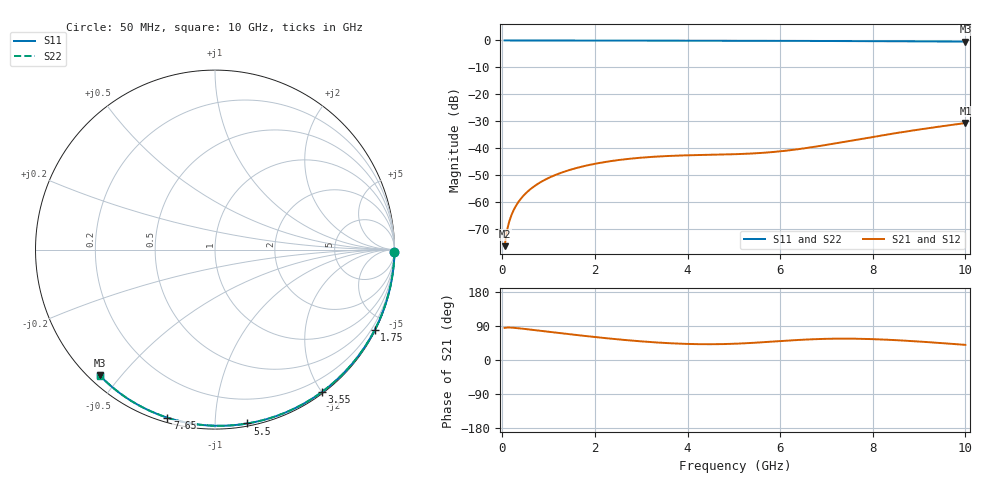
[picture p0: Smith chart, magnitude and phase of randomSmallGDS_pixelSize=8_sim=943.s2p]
! freq	dB(S11)	phase(S11)	dB(S12)	phase(S12)
!  dB(S21)	phase(S21)	dB(S22)	phase(S22)
!S-par simulation data
#  GHz  S  DB  R 50
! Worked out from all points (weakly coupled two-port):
!   200 points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, 50 MHz to 10 GHz, reference 50 ohm
!   highest |S21| = -30.70 dB at 10 GHz (marker M1); lowest = -76.5 dB at 50 MHz (marker M2)
!   lowest |S11| = -0.4 dB at 10 GHz (marker M3), VSWR 39.55, Z = 1.51 - j22 ohm
!   |S11| at or under -10 dB: nowhere
!   |S22| runs from -0.4 to 0.0 dB; largest |S21 - S12| = 0
!   S11 on the Smith chart (normalised r, x): 50 MHz: open; 1.75 GHz: 0.04, -4.19; 3.55 GHz: 0.02, -2.00; 5.5 GHz: 0.02, -1.20; 7.65 GHz: 0.02, -0.76; 10 GHz: 0.03, -0.44
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0.05  -0.00 -0.8  -76.46 84.8  -76.46 84.8  -0.00 -0.8
0.1  -0.00 -1.6  -70.72 85.7  -70.72 85.7  -0.00 -1.6
0.15  -0.00 -2.3  -67.27 85.7  -67.27 85.7  -0.00 -2.3
0.2  -0.00 -3.1  -64.80 85.4  -64.80 85.4  -0.00 -3.1
0.25  -0.00 -3.9  -62.88 85.0  -62.88 85.0  -0.00 -3.9
0.35  -0.00 -5.5  -59.99 83.8  -59.99 83.8  -0.00 -5.5
0.5  -0.01 -7.8  -56.93 81.7  -56.93 81.7  -0.01 -7.8
0.7  -0.01 -10.9  -54.07 78.9  -54.07 78.9  -0.01 -10.9
1  -0.02 -15.5  -51.10 74.5  -51.10 74.5  -0.02 -15.5
1.35  -0.03 -20.8  -48.70 69.5  -48.70 69.5  -0.03 -20.8
1.75  -0.03 -26.8  -46.76 63.9  -46.76 63.9  -0.03 -26.8
2.5  -0.05 -38.0  -44.47 54.5  -44.47 54.5  -0.05 -38.0
3.4  -0.07 -51.0  -43.10 45.8  -43.10 45.8  -0.07 -51.0
3.55  -0.07 -53.1  -42.96 44.7  -42.96 44.7  -0.07 -53.1
4.3  -0.09 -63.5  -42.56 41.7  -42.56 41.7  -0.09 -63.5
5.05  -0.11 -73.6  -42.26 43.1  -42.26 43.1  -0.11 -73.5
5.5  -0.13 -79.4  -41.91 45.9  -41.91 45.9  -0.13 -79.4
6.05  -0.15 -86.4  -41.12 50.3  -41.12 50.3  -0.15 -86.4
6.7  -0.18 -94.5  -39.64 54.7  -39.64 54.7  -0.18 -94.4
7.65  -0.24 -105.8  -36.90 56.1  -36.90 56.1  -0.24 -105.8
8.35  -0.29 -113.9  -34.86 53.3  -34.86 53.3  -0.29 -113.9
10  -0.44 -132.5  -30.70 39.9  -30.70 39.9  -0.44 -132.4
